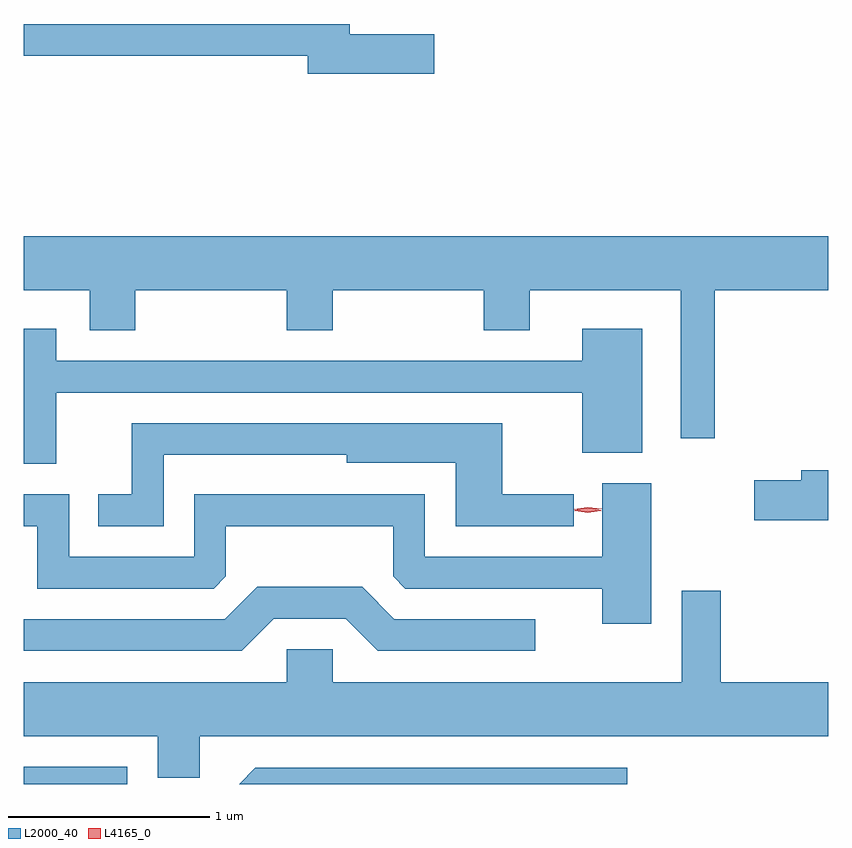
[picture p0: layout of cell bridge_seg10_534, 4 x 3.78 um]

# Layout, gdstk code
import gdstk
lib = gdstk.Library(unit=1e-6, precision=1e-09)
def R(c, l, rs):  # rectangles x0, y0, x1, y1
    for r in rs: c.add(gdstk.rectangle(r[:2], r[2:], *l))
def P(c, l, *ps):  # polygons
    for p in ps: c.add(gdstk.Polygon(p, *l))
L2000_40 = (2000, 40)
L4165_0 = (4165, 0)

bridge_seg10_534 = lib.new_cell('bridge_seg10_534')
R(bridge_seg10_534, L2000_40, [(805.854,2186.939,806.369,2187.024)])
P(bridge_seg10_534, L2000_40, [(807.894,2190.669),(807.474,2190.669),(807.474,2190.719),(805.854,2190.719),(805.854,2190.561),(807.266,2190.561),(807.266,2190.471),(807.894,2190.471)],
  [(809.289,2189.396),(809.854,2189.396),(809.854,2189.664),(805.854,2189.664),(805.854,2189.396),(806.181,2189.396),(806.181,2189.196),(806.409,2189.196),(806.409,2189.396),(807.161,2189.396),(807.161,2189.196),(807.389,2189.196),(807.389,2189.396),(808.141,2189.396),(808.141,2189.196),(808.369,2189.196),(808.369,2189.396),(809.121,2189.396),(809.121,2188.658),(809.289,2188.658)],
  [(806.014,2188.886),(808.631,2188.886),(808.631,2188.586),(808.929,2188.586),(808.929,2189.204),(808.631,2189.204),(808.631,2189.044),(806.014,2189.044),(806.014,2189.204),(805.854,2189.204),(805.854,2188.531),(806.014,2188.531)],
  [(806.549,2188.576),(807.461,2188.576),(807.461,2188.536),(808.001,2188.536),(808.001,2188.221),(808.588,2188.221),(808.588,2188.379),(808.234,2188.379),(808.234,2188.734),(806.391,2188.734),(806.391,2188.379),(806.223,2188.379),(806.223,2188.221),(806.549,2188.221)],
  [(809.854,2188.499),(809.721,2188.499),(809.721,2188.449),(809.486,2188.449),(809.486,2188.251),(809.854,2188.251)],
  [(808.974,2188.434),(808.731,2188.434),(808.731,2188.069),(807.849,2188.069),(807.849,2188.379),(806.701,2188.379),(806.701,2188.069),(806.079,2188.069),(806.079,2188.379),(805.854,2188.379),(805.854,2188.221),(805.921,2188.221),(805.921,2187.911),(806.799,2187.911),(806.859,2187.972),(806.859,2188.221),(807.691,2188.221),(807.691,2187.972),(807.752,2187.911),(808.731,2187.911),(808.731,2187.736),(808.974,2187.736)],
  [(807.097,2187.761),(807.454,2187.761),(807.614,2187.601),(808.398,2187.601),(808.398,2187.759),(807.697,2187.759),(807.537,2187.919),(807.014,2187.919),(806.854,2187.759),(805.854,2187.759),(805.854,2187.601),(806.937,2187.601)],
  [(806.729,2187.176),(809.854,2187.176),(809.854,2187.444),(809.319,2187.444),(809.319,2187.899),(809.126,2187.899),(809.126,2187.444),(807.389,2187.444),(807.389,2187.609),(807.161,2187.609),(807.161,2187.444),(805.854,2187.444),(805.854,2187.176),(806.521,2187.176),(806.521,2186.971),(806.729,2186.971)],
  [(808.854,2187.019),(807.004,2187.019),(806.924,2186.939),(808.854,2186.939)])
P(bridge_seg10_534, L4165_0, [(808.658,2188.296),(808.59,2188.305),(808.589,2188.306),(808.59,2188.306),(808.658,2188.316),(808.726,2188.308),(808.727,2188.307),(808.726,2188.307)],
  [(808.659,2188.289),(808.593,2188.298),(808.593,2188.299),(808.593,2188.3),(808.659,2188.309),(808.724,2188.3),(808.725,2188.299),(808.724,2188.298)])

lib.write_gds('bridge_seg10_534.gds')
